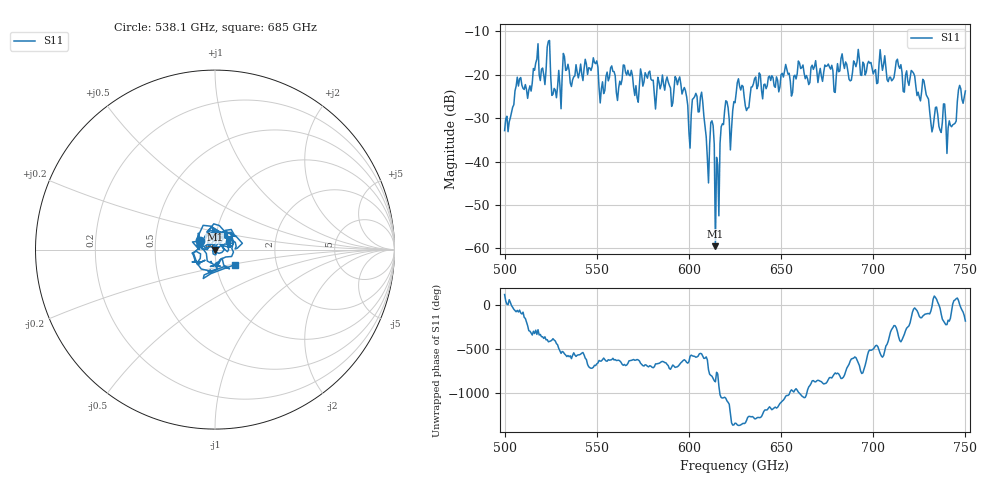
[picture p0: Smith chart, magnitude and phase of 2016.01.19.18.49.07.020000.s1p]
!Created with skrf (http://scikit-rf.org).
# GHz S RI R 50.0
!freq ReS11 ImS11
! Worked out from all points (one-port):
!   401 points, 500 GHz to 750 GHz, reference 50 ohm
!   lowest |S11| = -59.5 dB at 614.4 GHz (marker M1), VSWR 1.00, Z = 49.9 - j0.0523 ohm
!   |S11| at or under -10 dB: start of sweep to end of sweep
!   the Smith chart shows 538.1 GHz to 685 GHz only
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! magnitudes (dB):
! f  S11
! 500 GHz  -32.9
! 513.8 GHz  -22.6
! 516.9 GHz  -17.4
! 520.6 GHz  -18.5
! 523.8 GHz  -12.3
! 526.9 GHz  -23.2
! 531.2 GHz  -20.2
! 549.4 GHz  -17.5
! 552.5 GHz  -23.2
! 558.8 GHz  -19.2
! 562.5 GHz  -21.5
! 593.8 GHz  -22.3
! 600 GHz  -33.2
! 606.9 GHz  -24.0
! 610 GHz  -39.2
! 612.5 GHz  -30.6
! 614.4 GHz  -59.5
! 615.6 GHz  -40.8
! 618.8 GHz  -31.5
! 623.1 GHz  -32.5
! 625 GHz  -26.5
! 656.2 GHz  -24.1
! 660.6 GHz  -18.6
! 687.5 GHz  -21.4
! 705 GHz  -19.0
! 718.8 GHz  -21.5
! 741.2 GHz  -30.6
! 750 GHz  -23.8
